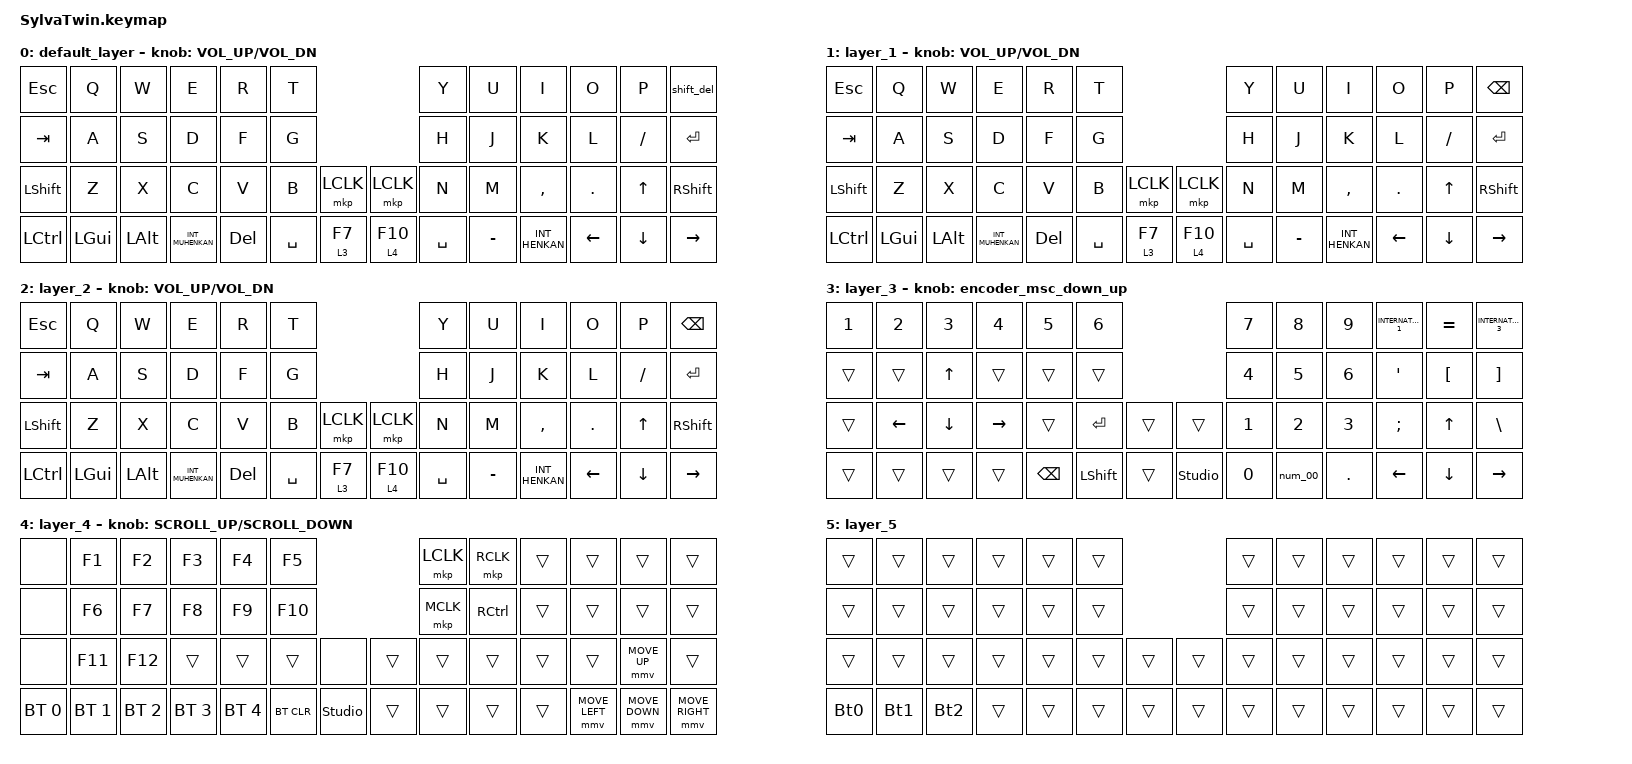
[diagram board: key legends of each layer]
/*
 * Copyright (c) 2020 The ZMK Contributors
 *
 * SPDX-License-Identifier: MIT
 */

#include <behaviors.dtsi>
#include <dt-bindings/zmk/bt.h>
#include <dt-bindings/zmk/keys.h>
#include <dt-bindings/zmk/pointing.h>

//ロータリーエンコーダスクロール用に追記

#define ZMK_POINTING_DEFAULT_SCRL_VAL 80

/ {
    combos {
        compatible = "zmk,combos";

        prtsc {
            bindings = <&kp PRINTSCREEN>;
            key-positions = <10 11>;
        };

        RightClick {
            bindings = <&mkp RCLK>;
            key-positions = <30 44>;
        };

        MiddleClick {
            bindings = <&mkp MCLK>;
            key-positions = <29 43>;
        };

        RightClick2 {
            bindings = <&mkp RCLK>;
            key-positions = <31 45>;
        };

        MiddleClick2 {
            bindings = <&mkp MCLK>;
            key-positions = <32 46>;
        };

        zen-han {
            bindings = <&kp GRAVE>;
            key-positions = <0 1>;
            layers = <0 1>;
        };

        paste {
            bindings = <&kp LC(V)>;
            key-positions = <42 28>;
            layers = <0 1>;
        };

        copy {
            bindings = <&kp LC(C)>;
            key-positions = <41 27>;
            layers = <0 1>;
        };

        cut {
            bindings = <&kp LC(X)>;
            key-positions = <40 26>;
            layers = <0 1>;
        };

        minus {
            bindings = <&kp MINUS>;
            key-positions = <10 9>;
        };

        ZEN_HAN_mac {
            bindings = <&kp LC(SPACE)>;
            key-positions = <0 1>;
            layers = <2>;
        };

        paste_mac {
            bindings = <&kp LG(V)>;
            key-positions = <42 28>;
            layers = <2>;
        };

        cut_mac {
            bindings = <&kp LG(X)>;
            key-positions = <40 26>;
            layers = <2>;
        };

        copy_mac {
            bindings = <&kp LG(C)>;
            key-positions = <41 27>;
            layers = <2>;
        };

        Caps {
            bindings = <&caps_word>;
            key-positions = <12 13>;
        };
    };

    macros {
        Bt0: Bt0 {
            compatible = "zmk,behavior-macro";
            #binding-cells = <0>;
            bindings =
                <&tog_off 1 &tog_off 2>,
                <&macro_wait_time 200>,
                <&bt BT_SEL 0>,
                <&macro_wait_time 500>;

            label = "Bt0";
        };

        Bt1: Bt1 {
            compatible = "zmk,behavior-macro";
            #binding-cells = <0>;
            bindings =
                <&tog_off 1 &tog_off 2>,
                <&macro_wait_time 200>,
                <&bt BT_SEL 1>,
                <&macro_wait_time 500>,
                <&tog_on 1>;

            label = "Bt1";
        };

        Bt2: Bt2 {
            compatible = "zmk,behavior-macro";
            #binding-cells = <0>;
            bindings =
                <&tog_off 1 &tog_off 2>,
                <&macro_wait_time 200>,
                <&bt BT_SEL 2>,
                <&macro_wait_time 500>,
                <&tog_on 2>;

            label = "Bt2";
        };

        num_00: num_00 {
            compatible = "zmk,behavior-macro";
            #binding-cells = <0>;
            bindings = <&none &kp N0 &kp N0>;
            label = "NUM_00";
        };
    };

    behaviors {
        tog_on: toggle_layer_on_only {
            compatible = "zmk,behavior-toggle-layer";
            #binding-cells = <1>;
            display-name = "Toggle Layer On";
            toggle-mode = "on";
        };

        tog_off: toggle_layer_off_only {
            compatible = "zmk,behavior-toggle-layer";
            #binding-cells = <1>;
            display-name = "Toggle Layer Off";
            toggle-mode = "off";
        };

        shift_del: shift_del {
            compatible = "zmk,behavior-mod-morph";
            label = "SHIFT_DEL";
            bindings = <&kp BACKSPACE>, <&kp DELETE>;

            #binding-cells = <0>;
            mods = <(MOD_LSFT|MOD_RSFT)>;
        };

        encoder_msc_down_up: encoder_msc_down_up {
            compatible = "zmk,behavior-sensor-rotate";
            label = "ENCODER_MSC_DOWN_UP";
            #sensor-binding-cells = <0>;
            bindings = <&msc SCRL_DOWN>, <&msc SCRL_UP>;

            tap-ms = <20>;
        };
    };

    keymap {
        compatible = "zmk,keymap";

        default_layer {
            bindings = <
&kp ESC     &kp Q     &kp W     &kp E             &kp R    &kp T                            &kp Y      &kp U      &kp I           &kp O     &kp P      &shift_del
&kp TAB     &kp A     &kp S     &kp D             &kp F    &kp G                            &kp H      &kp J      &kp K           &kp L     &kp SLASH  &kp ENTER
&kp LSHIFT  &kp Z     &kp X     &kp C             &kp V    &kp B      &mkp LCLK  &mkp LCLK  &kp N      &kp M      &kp COMMA       &kp DOT   &kp UP     &kp RSHIFT
&kp LCTRL   &kp LGUI  &kp LALT  &kp INT_MUHENKAN  &kp DEL  &kp SPACE  &lt 3 F7   &lt 4 F10  &kp SPACE  &kp MINUS  &kp INT_HENKAN  &kp LEFT  &kp DOWN   &kp RIGHT
            >;

            sensor-bindings = <&inc_dec_kp C_VOL_UP C_VOL_DN>;
        };

        layer_1 {
            bindings = <
&kp ESC     &kp Q     &kp W     &kp E             &kp R    &kp T                            &kp Y      &kp U      &kp I           &kp O     &kp P      &kp BSPC
&kp TAB     &kp A     &kp S     &kp D             &kp F    &kp G                            &kp H      &kp J      &kp K           &kp L     &kp SLASH  &kp ENTER
&kp LSHIFT  &kp Z     &kp X     &kp C             &kp V    &kp B      &mkp LCLK  &mkp LCLK  &kp N      &kp M      &kp COMMA       &kp DOT   &kp UP     &kp RSHIFT
&kp LCTRL   &kp LGUI  &kp LALT  &kp INT_MUHENKAN  &kp DEL  &kp SPACE  &lt 3 F7   &lt 4 F10  &kp SPACE  &kp MINUS  &kp INT_HENKAN  &kp LEFT  &kp DOWN   &kp RIGHT
            >;

            sensor-bindings = <&inc_dec_kp C_VOL_UP C_VOL_DN>;
        };

        layer_2 {
            bindings = <
&kp ESC     &kp Q     &kp W     &kp E             &kp R    &kp T                            &kp Y      &kp U      &kp I           &kp O     &kp P      &kp BSPC
&kp TAB     &kp A     &kp S     &kp D             &kp F    &kp G                            &kp H      &kp J      &kp K           &kp L     &kp SLASH  &kp ENTER
&kp LSHIFT  &kp Z     &kp X     &kp C             &kp V    &kp B      &mkp LCLK  &mkp LCLK  &kp N      &kp M      &kp COMMA       &kp DOT   &kp UP     &kp RSHIFT
&kp LCTRL   &kp LGUI  &kp LALT  &kp INT_MUHENKAN  &kp DEL  &kp SPACE  &lt 3 F7   &lt 4 F10  &kp SPACE  &kp MINUS  &kp INT_HENKAN  &kp LEFT  &kp DOWN   &kp RIGHT
            >;

            sensor-bindings = <&inc_dec_kp C_VOL_UP C_VOL_DN>;
        };

        layer_3 {
            bindings = <
&kp N1  &kp N2    &kp N3          &kp N4     &kp NUMBER_5   &kp N6                                  &kp NUMBER_7  &kp NUMBER_8  &kp NUMBER_9  &kp INTERNATIONAL_1  &kp EQUAL         &kp INTERNATIONAL_3
&trans  &trans    &kp UP          &trans     &trans         &trans                                  &kp NUMBER_4  &kp NUMBER_5  &kp NUMBER_6  &kp SINGLE_QUOTE     &kp LEFT_BRACKET  &kp RIGHT_BRACKET
&trans  &kp LEFT  &kp DOWN_ARROW  &kp RIGHT  &trans         &kp ENTER       &trans  &trans          &kp NUMBER_1  &kp NUMBER_2  &kp NUMBER_3  &kp SEMICOLON        &kp UP            &kp BSLH
&trans  &trans    &trans          &trans     &kp BACKSPACE  &kp LEFT_SHIFT  &trans  &studio_unlock  &kp NUMBER_0  &num_00       &kp DOT       &kp LEFT_ARROW       &kp DOWN          &kp RIGHT
            >;

            sensor-bindings = <&encoder_msc_down_up>;
        };

        layer_4 {
            bindings = <
&none         &kp F1        &kp F2        &kp F3        &kp F4        &kp F5                              &mkp LCLK  &mkp RCLK  &trans  &trans          &trans          &trans
&none         &kp F6        &kp F7        &kp F8        &kp F9        &kp F10                             &mkp MCLK  &kp RCTRL  &trans  &trans          &trans          &trans
&none         &kp F11       &kp F12       &trans        &trans        &trans      &none           &trans  &trans     &trans     &trans  &trans          &mmv MOVE_UP    &trans
&bt BT_SEL 0  &bt BT_SEL 1  &bt BT_SEL 2  &bt BT_SEL 3  &bt BT_SEL 4  &bt BT_CLR  &studio_unlock  &trans  &trans     &trans     &trans  &mmv MOVE_LEFT  &mmv MOVE_DOWN  &mmv MOVE_RIGHT
            >;

            sensor-bindings = <&inc_dec_kp K_SCROLL_UP K_SCROLL_DOWN>;
        };

        layer_5 {
            bindings = <
&trans  &trans  &trans  &trans  &trans  &trans                  &trans  &trans  &trans  &trans  &trans  &trans
&trans  &trans  &trans  &trans  &trans  &trans                  &trans  &trans  &trans  &trans  &trans  &trans
&trans  &trans  &trans  &trans  &trans  &trans  &trans  &trans  &trans  &trans  &trans  &trans  &trans  &trans
&Bt0    &Bt1    &Bt2    &trans  &trans  &trans  &trans  &trans  &trans  &trans  &trans  &trans  &trans  &trans
            >;
        };
    };

    conditional_layers {
        compatible = "zmk,conditional-layers";

        Bluetooth {
            if-layers = <3 4>;
            then-layer = <5>;
        };
    };
};
